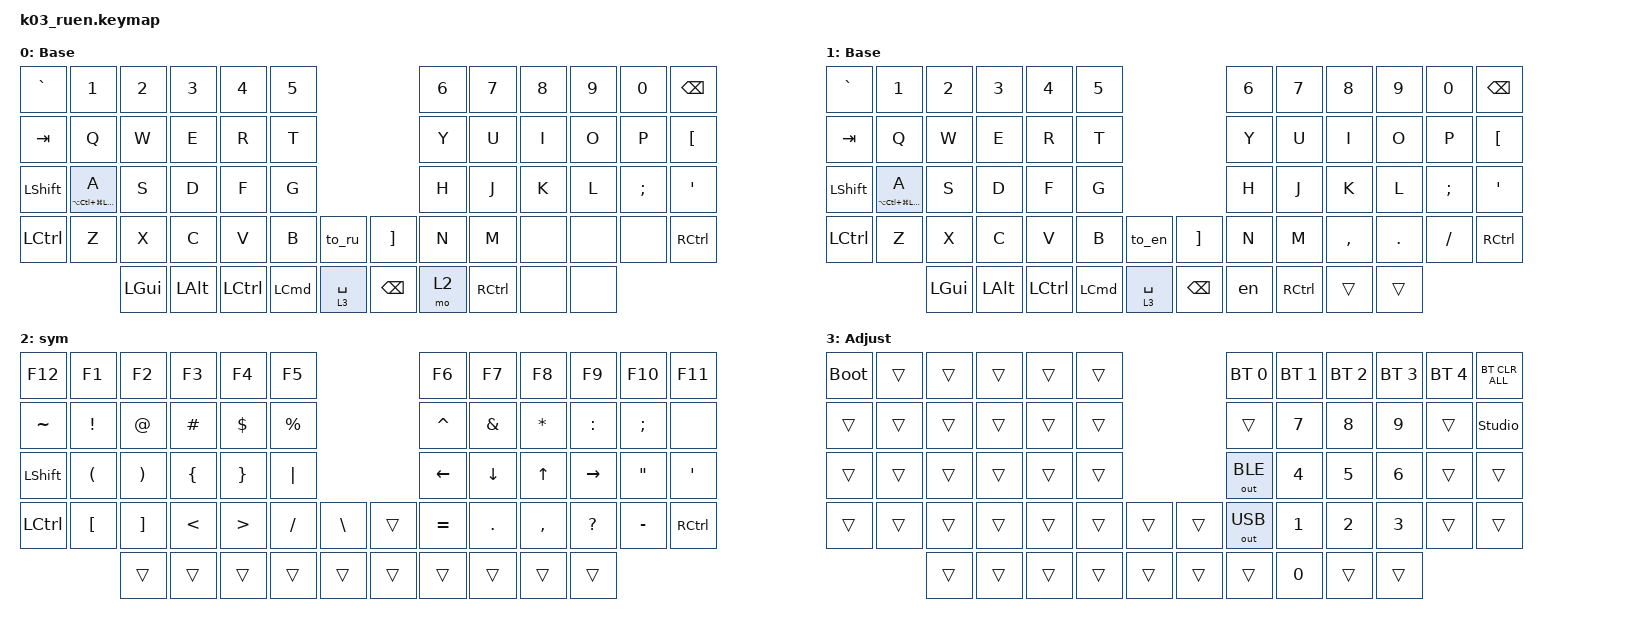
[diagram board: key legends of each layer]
#include "keys_ru.h"
#include <behaviors.dtsi>
#include <dt-bindings/zmk/bt.h>
#include <dt-bindings/zmk/keys.h>
#include <dt-bindings/zmk/outputs.h>

/ {
    behaviors {
        enc_vol: enc_vol {
            compatible = "zmk,behavior-sensor-rotate";
            label = "ENC_VOL";
            #sensor-binding-cells = <0>;
            bindings = <&kp C_VOL_UP>, <&kp C_VOL_DN>;
        };
    };

    combos {
        compatible = "zmk,combos";

        esc {
            bindings = <&kp ESC>;
            key-positions = <26 27 28>;
        };

        enter {
            bindings = <&kp ENTER>;
            key-positions = <31 32 33>;
        };
    };

    macros {
        to_ru: to_ru {
            compatible = "zmk,behavior-macro";
            #binding-cells = <0>;
            bindings = <&kp LA(NUMBER_2) &to 1>;
            label = "TO_RU";
            wait-ms = <0>;
            tap-ms = <30>;
        };

        to_en: to_en {
            compatible = "zmk,behavior-macro";
            #binding-cells = <0>;
            bindings = <&kp LA(NUMBER_1) &to 0>;
            label = "TO_EN";
            wait-ms = <0>;
            tap-ms = <30>;
        };

        en: en {
            compatible = "zmk,behavior-macro";
            #binding-cells = <0>;
            bindings =
                <&to_en &to 2>,
                <&macro_press>,
                <&macro_pause_for_release>,
                <&macro_release>,
                <&macro_tap>,
                <&to_ru &to 1>;

            label = "EN";
            wait-ms = <0>;
            tap-ms = <30>;
        };

        hyper: hyper {
            compatible = "zmk,behavior-macro";
            #binding-cells = <0>;
            bindings = <&kp LA(LC(LG(LEFT_SHIFT)))>;
            label = "HYPER";
        };
    };

    keymap {
        compatible = "zmk,keymap";

        en {
            bindings = <
&kp GRAVE       &kp N1                        &kp N2    &kp N3    &kp N4     &kp N5                                          &kp N6  &kp N7     &kp N8  &kp N9  &kp N0    &kp BSPC
&kp TAB         &kp Q                         &kp W     &kp E     &kp R      &kp T                                           &kp Y   &kp U      &kp I   &kp O   &kp P     &kp LEFT_BRACKET
&kp LEFT_SHIFT  &mt LA(LC(LG(LEFT_SHIFT))) A  &kp S     &kp D     &kp F      &kp G                                           &kp H   &kp J      &kp K   &kp L   &kp SEMI  &kp SQT
&kp LCTRL       &kp Z                         &kp X     &kp C     &kp V      &kp B             &to_ru         &kp RBKT       &kp N   &kp M      &none   &none   &none     &kp RCTRL
                                              &kp LGUI  &kp LALT  &kp LCTRL  &kp LEFT_COMMAND  &lt 3 SPACE    &kp BACKSPACE  &mo 2   &kp RCTRL  &none   &none
            >;

            display-name = "Base";
        };

        ru {
            display-name = "Base";
            bindings = <
&kp GRAVE       &kp N1                        &kp N2    &kp N3    &kp N4     &kp N5                                          &kp N6  &kp N7     &kp N8     &kp N9   &kp N0    &kp BSPC
&kp TAB         &kp Q                         &kp W     &kp E     &kp R      &kp T                                           &kp Y   &kp U      &kp I      &kp O    &kp P     &kp LEFT_BRACKET
&kp LEFT_SHIFT  &mt LA(LC(LG(LEFT_SHIFT))) A  &kp S     &kp D     &kp F      &kp G                                           &kp H   &kp J      &kp K      &kp L    &kp SEMI  &kp SQT
&kp LCTRL       &kp Z                         &kp X     &kp C     &kp V      &kp B             &to_en         &kp RBKT       &kp N   &kp M      &kp COMMA  &kp DOT  &kp FSLH  &kp RCTRL
                                              &kp LGUI  &kp LALT  &kp LCTRL  &kp LEFT_COMMAND  &lt 3 SPACE    &kp BACKSPACE  &en     &kp RCTRL  &trans     &trans
            >;
        };

        sym {
            bindings = <
&kp F12         &kp F1            &kp F2             &kp F3          &kp F4            &kp F5                         &kp F6     &kp F7         &kp F8     &kp F9     &kp F10        &kp F11
&kp TILDE       &kp EXCL          &kp AT_SIGN        &kp HASH        &kp DOLLAR        &kp PRCNT                      &kp CARET  &kp AMPERSAND  &kp ASTRK  &kp COLON  &kp SEMICOLON  &none
&kp LEFT_SHIFT  &kp LPAR          &kp RPAR           &kp LEFT_BRACE  &kp RIGHT_BRACE   &kp PIPE                       &kp LEFT   &kp DOWN       &kp UP     &kp RIGHT  &kp DQT        &kp APOS
&kp LCTRL       &kp LEFT_BRACKET  &kp RIGHT_BRACKET  &kp LESS_THAN   &kp GREATER_THAN  &kp FSLH   &kp BSLH    &trans  &kp EQUAL  &kp DOT        &kp COMMA  &kp QMARK  &kp MINUS      &kp RCTRL
                                  &trans             &trans          &trans            &trans     &trans      &trans  &trans     &trans         &trans     &trans
            >;
        };

        adj {
            bindings = <
&bootloader  &trans  &trans  &trans  &trans  &trans                    &bt BT_SEL 0  &bt BT_SEL 1  &bt BT_SEL 2  &bt BT_SEL 3  &bt BT_SEL 4  &bt BT_CLR_ALL
&trans       &trans  &trans  &trans  &trans  &trans                    &trans        &kp N7        &kp N8        &kp N9        &trans        &studio_unlock
&trans       &trans  &trans  &trans  &trans  &trans                    &out OUT_BLE  &kp N4        &kp N5        &kp N6        &trans        &trans
&trans       &trans  &trans  &trans  &trans  &trans  &trans    &trans  &out OUT_USB  &kp N1        &kp N2        &kp N3        &trans        &trans
                     &trans  &trans  &trans  &trans  &trans    &trans  &trans        &kp N0        &trans        &trans
            >;

            display-name = "Adjust";
        };
    };
};
